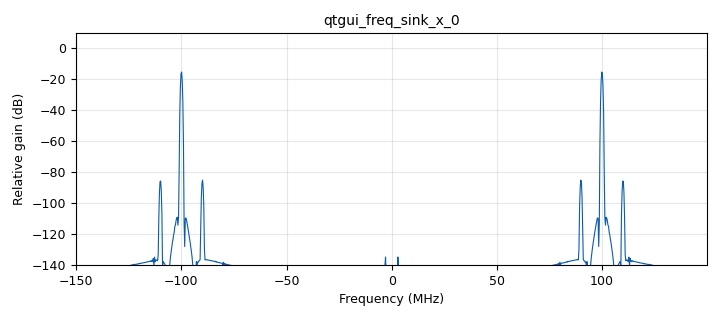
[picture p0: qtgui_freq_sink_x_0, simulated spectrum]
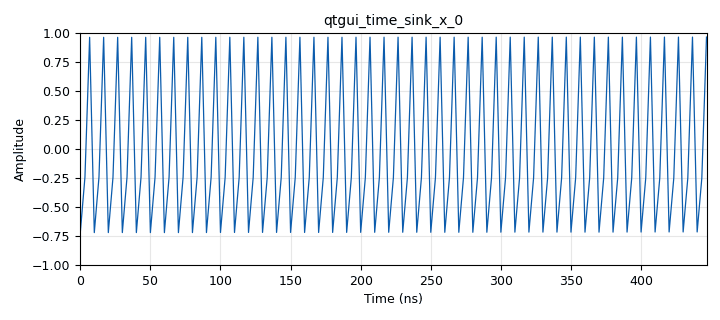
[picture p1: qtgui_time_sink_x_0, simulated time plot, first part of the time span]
<?xml version='1.0' encoding='utf-8'?>
<?grc format='1' created='3.7.9'?>
<flow_graph>
<block>
<key>options</key>
<param><key>id</key><value>top_block</value></param>
<param><key>category</key><value>Custom</value></param>
<param><key>generate_options</key><value>qt_gui</value></param>
</block>
<block>
<key>variable_qtgui_range</key>
<param><key>id</key><value>Amplitude</value></param>
<param><key>value</key><value>6.283*1000</value></param>
<param><key>orient</key><value>Qt.Horizontal</value></param>
<param><key>start</key><value>0.1</value></param>
<param><key>step</key><value>0.01</value></param>
<param><key>stop</key><value>1000000</value></param>
</block>
<block>
<key>variable_qtgui_range</key>
<param><key>id</key><value>Modulating_Frequency</value></param>
<param><key>value</key><value>10000000</value></param>
<param><key>orient</key><value>Qt.Horizontal</value></param>
<param><key>start</key><value>0</value></param>
<param><key>step</key><value>1</value></param>
<param><key>stop</key><value>50000000</value></param>
</block>
<block>
<key>variable</key>
<param><key>id</key><value>samp_rate</value></param>
<param><key>value</key><value>300000000</value></param>
</block>
<block>
<key>analog_sig_source_x</key>
<param><key>id</key><value>analog_sig_source_x_0</value></param>
<param><key>amp</key><value>Amplitude</value></param>
<param><key>freq</key><value>Modulating_Frequency</value></param>
<param><key>offset</key><value>0</value></param>
<param><key>type</key><value>float</value></param>
<param><key>samp_rate</key><value>300000000</value></param>
<param><key>waveform</key><value>analog.GR_COS_WAVE</value></param>
</block>
<block>
<key>blocks_add_const_vxx</key>
<param><key>id</key><value>blocks_add_const_vxx_0</value></param>
<param><key>const</key><value>100000000</value></param>
<param><key>type</key><value>float</value></param>
</block>
<block>
<key>blocks_throttle</key>
<param><key>id</key><value>blocks_throttle_0</value></param>
<param><key>samples_per_second</key><value>samp_rate</value></param>
<param><key>type</key><value>float</value></param>
</block>
<block>
<key>blocks_vco_f</key>
<param><key>id</key><value>blocks_vco_f_0</value></param>
<param><key>amplitude</key><value>1</value></param>
<param><key>samp_rate</key><value>300000000</value></param>
<param><key>sensitivity</key><value>6.283</value></param>
</block>
<block>
<key>qtgui_freq_sink_x</key>
<param><key>id</key><value>qtgui_freq_sink_x_0</value></param>
<param><key>bw</key><value>samp_rate</value></param>
<param><key>fc</key><value>0</value></param>
<param><key>fftsize</key><value>1024</value></param>
<param><key>showports</key><value>True</value></param>
<param><key>type</key><value>float</value></param>
<param><key>wintype</key><value>firdes.WIN_BLACKMAN_hARRIS</value></param>
</block>
<block>
<key>qtgui_time_sink_x</key>
<param><key>id</key><value>qtgui_time_sink_x_0</value></param>
<param><key>color1</key><value>"blue"</value></param>
<param><key>label1</key><value></value></param>
<param><key>size</key><value>1024</value></param>
<param><key>srate</key><value>samp_rate</value></param>
<param><key>type</key><value>float</value></param>
</block>
<connection><source_block_id>analog_sig_source_x_0</source_block_id><sink_block_id>blocks_add_const_vxx_0</sink_block_id><source_key>0</source_key><sink_key>0</sink_key></connection>
<connection><source_block_id>blocks_add_const_vxx_0</source_block_id><sink_block_id>blocks_vco_f_0</sink_block_id><source_key>0</source_key><sink_key>0</sink_key></connection>
<connection><source_block_id>blocks_throttle_0</source_block_id><sink_block_id>qtgui_freq_sink_x_0</sink_block_id><source_key>0</source_key><sink_key>0</sink_key></connection>
<connection><source_block_id>blocks_throttle_0</source_block_id><sink_block_id>qtgui_time_sink_x_0</sink_block_id><source_key>0</source_key><sink_key>0</sink_key></connection>
<connection><source_block_id>blocks_vco_f_0</source_block_id><sink_block_id>blocks_throttle_0</sink_block_id><source_key>0</source_key><sink_key>0</sink_key></connection>
</flow_graph>
